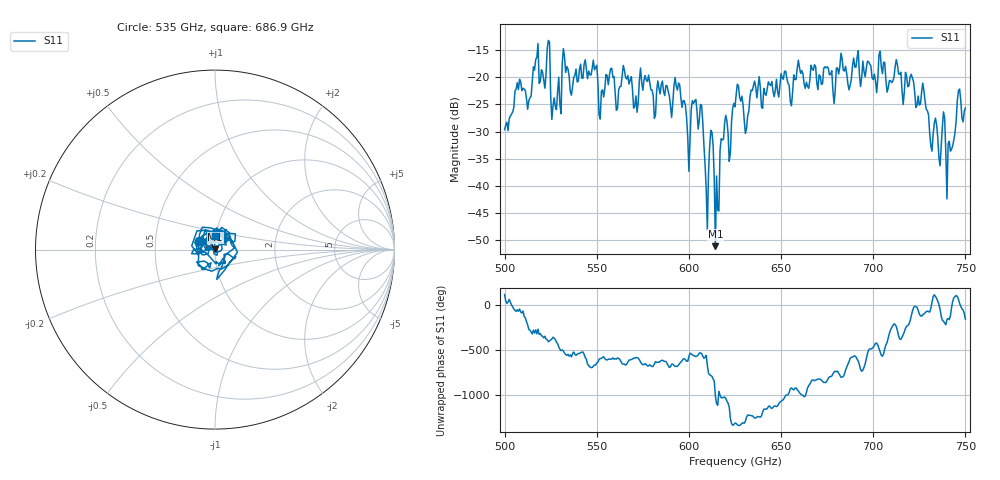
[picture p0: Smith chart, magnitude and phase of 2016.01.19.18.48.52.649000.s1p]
!Created with skrf (http://scikit-rf.org).
# GHz S RI R 50.0
!freq ReS11 ImS11
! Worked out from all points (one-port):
!   401 points, 500 GHz to 750 GHz, reference 50 ohm
!   lowest |S11| = -51.1 dB at 614.4 GHz (marker M1), VSWR 1.01, Z = 50.1 + j0.237 ohm
!   |S11| at or under -10 dB: start of sweep to end of sweep
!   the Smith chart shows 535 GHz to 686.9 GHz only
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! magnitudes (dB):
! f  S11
! 500 GHz  -29.6
! 507.5 GHz  -22.3
! 513.1 GHz  -24.3
! 516.9 GHz  -16.7
! 523.8 GHz  -13.2
! 526.9 GHz  -23.8
! 531.2 GHz  -17.6
! 562.5 GHz  -21.7
! 593.8 GHz  -22.3
! 599.4 GHz  -31.2
! 602.5 GHz  -24.8
! 606.9 GHz  -25.1
! 609.4 GHz  -40.6
! 612.5 GHz  -30.1
! 614.4 GHz  -51.1
! 615.6 GHz  -44.5
! 618.8 GHz  -31.4
! 622.5 GHz  -33.9
! 625 GHz  -25.4
! 631.2 GHz  -29.4
! 635 GHz  -21.6
! 656.2 GHz  -22.8
! 660 GHz  -18.2
! 687.5 GHz  -21.5
! 718.8 GHz  -21.7
! 740.6 GHz  -32.2
! 746.2 GHz  -22.4
! 750 GHz  -25.7
